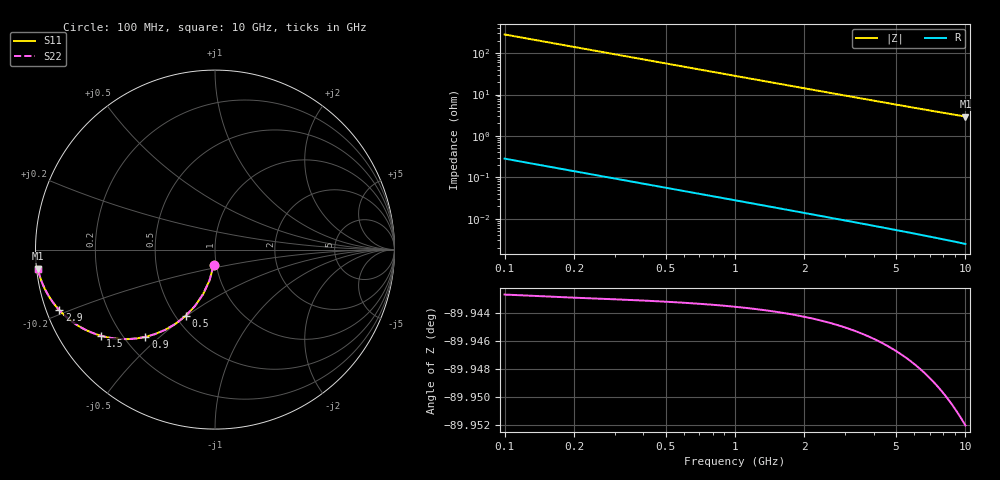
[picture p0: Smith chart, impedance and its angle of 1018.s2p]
# Hz S RI R 50.00
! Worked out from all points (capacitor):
!   100 points, 100 MHz to 10 GHz, reference 50 ohm
!   read as one part in shunt: C = 5.63 pF near 100 MHz
!   lowest |Z| = 2.94 ohm at 10 GHz (marker M1)
!   S11 on the Smith chart (normalised r, x): 100 MHz: 0.97, -0.17; 500 MHz: 0.56, -0.50; 900 MHz: 0.28, -0.45; 1.5 GHz: 0.13, -0.33; 2.9 GHz: 0.04, -0.19; 10 GHz: 0.00, -0.05
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1e8  -0.00783 -0.0877  0.9921 -0.0878  0.9921 -0.0878  -0.00783 -0.0877
2e8  -0.0305 -0.1714  0.9695 -0.1716  0.9695 -0.1716  -0.0305 -0.1714
3e8  -0.066 -0.2476  0.934 -0.2479  0.934 -0.2479  -0.066 -0.2476
4e8  -0.1115 -0.3141  0.8885 -0.3145  0.8885 -0.3145  -0.1115 -0.3141
5e8  -0.1638 -0.3694  0.8361 -0.3699  0.8361 -0.3699  -0.1638 -0.3694
6e8  -0.22 -0.4134  0.78 -0.414  0.78 -0.414  -0.22 -0.4134
7e8  -0.2773 -0.4468  0.7227 -0.4475  0.7227 -0.4475  -0.2773 -0.4468
9e8  -0.3879 -0.4863  0.6121 -0.4872  0.6121 -0.4872  -0.3879 -0.4863
1e9  -0.4389 -0.4953  0.5611 -0.4963  0.5611 -0.4963  -0.4389 -0.4953
1.2e9  -0.5296 -0.498  0.4704 -0.4992  0.4704 -0.4992  -0.5296 -0.498
1.5e9  -0.6374 -0.4795  0.3626 -0.481  0.3626 -0.481  -0.6374 -0.4795
1.8e9  -0.7166 -0.4492  0.2833 -0.451  0.2833 -0.451  -0.7166 -0.4492
2e9  -0.7573 -0.4272  0.2426 -0.4292  0.2426 -0.4292  -0.7573 -0.4272
2.3e9  -0.8049 -0.3946  0.1951 -0.3969  0.1951 -0.3969  -0.8049 -0.3946
2.6e9  -0.8405 -0.3643  0.1595 -0.367  0.1595 -0.367  -0.8405 -0.3643
2.9e9  -0.8676 -0.337  0.1324 -0.3399  0.1324 -0.3399  -0.8676 -0.337
3.4e9  -0.9 -0.2978  0.1 -0.3012  0.1 -0.3012  -0.9 -0.2978
4.2e9  -0.932 -0.249  0.0679 -0.2532  0.0679 -0.2532  -0.932 -0.249
5.1e9  -0.9529 -0.2088  0.0471 -0.214  0.0471 -0.214  -0.9529 -0.2088
6.7e9  -0.9721 -0.1605  0.0278 -0.1674  0.0278 -0.1674  -0.9721 -0.1605
8.4e9  -0.9821 -0.1275  0.0178 -0.1362  0.0178 -0.1362  -0.9821 -0.1275
1e10  -0.9874 -0.1058  0.0125 -0.1162  0.0125 -0.1162  -0.9874 -0.1058
